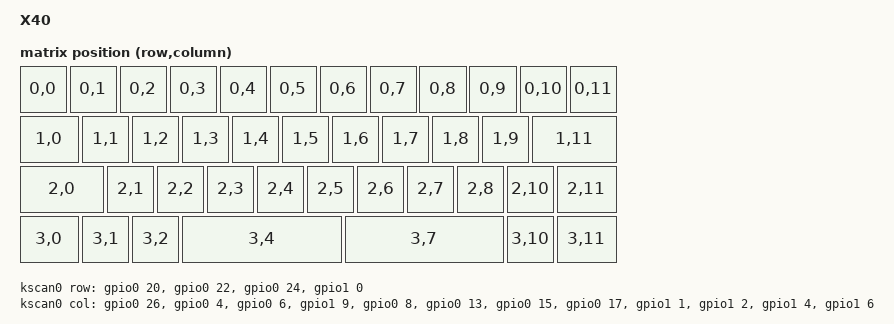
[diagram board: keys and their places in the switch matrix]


/dts-v1/;
#include <nordic/nrf52840_qiaa.dtsi>
#include <nordic/nrf52840_uf2_boot_mode.dtsi>

#include <dt-bindings/zmk/matrix_transform.h>

#include <physical_layouts.dtsi>
/ {
    model = "X40";
    compatible = "X,40";

    chosen {
        zephyr,code-partition = &code_partition;
        zephyr,sram = &sram0;
        zephyr,flash = &flash0;
        zmk,kscan = &kscan0;
        zmk,physical-layout = &physical_layout0;
        zmk,matrix-transform = &default_transform;
    };
    default_transform: keymap_transform {
        compatible = "zmk,matrix-transform";
        columns = <12>; 
        rows = <4>; 
        map = <
            RC(0,0) RC(0,1) RC(0,2) RC(0,3) RC(0,4) RC(0,5) RC(0,6) RC(0,7) RC(0,8) RC(0,9) RC(0,10) RC(0,11)
            RC(1,0) RC(1,1) RC(1,2) RC(1,3) RC(1,4) RC(1,5) RC(1,6) RC(1,7) RC(1,8) RC(1,9)          RC(1,11)
            RC(2,0) RC(2,1) RC(2,2) RC(2,3) RC(2,4) RC(2,5) RC(2,6) RC(2,7) RC(2,8)         RC(2,10) RC(2,11)
            RC(3,0) RC(3,1) RC(3,2)         RC(3,4)                 RC(3,7)                 RC(3,10) RC(3,11)
        >;
    };

    kscan0: kscan0 {
        compatible = "zmk,kscan-gpio-matrix";
        diode-direction = "col2row";
        wakeup-source;

        col-gpios
            = <&gpio0 26 (GPIO_ACTIVE_HIGH | GPIO_PULL_DOWN)> //1
            , <&gpio0 4 (GPIO_ACTIVE_HIGH | GPIO_PULL_DOWN)> //2
            , <&gpio0 6 (GPIO_ACTIVE_HIGH | GPIO_PULL_DOWN)> //3
            , <&gpio1 9 (GPIO_ACTIVE_HIGH | GPIO_PULL_DOWN)> //4
            , <&gpio0 8 (GPIO_ACTIVE_HIGH | GPIO_PULL_DOWN)> //5 
            , <&gpio0 13 (GPIO_ACTIVE_HIGH | GPIO_PULL_DOWN)> //6
            , <&gpio0 15 (GPIO_ACTIVE_HIGH | GPIO_PULL_DOWN)> //7 
            , <&gpio0 17 (GPIO_ACTIVE_HIGH | GPIO_PULL_DOWN)> //8
            , <&gpio1 1 (GPIO_ACTIVE_HIGH | GPIO_PULL_DOWN)> //9
            , <&gpio1 2 (GPIO_ACTIVE_HIGH | GPIO_PULL_DOWN)> //10
            , <&gpio1 4 (GPIO_ACTIVE_HIGH | GPIO_PULL_DOWN)> //11
            , <&gpio1 6 (GPIO_ACTIVE_HIGH | GPIO_PULL_DOWN)> //12
            ;

        row-gpios
            = <&gpio0 20 GPIO_ACTIVE_HIGH>
            , <&gpio0 22  GPIO_ACTIVE_HIGH>
            , <&gpio0 24 GPIO_ACTIVE_HIGH>
            , <&gpio1 0 GPIO_ACTIVE_HIGH>
            ;
    };
    physical_layout0: physical_layout_0 {
        compatible = "zmk,physical-layout";
        display-name = "default";

        kscan = <&kscan0>;
        transform = <&default_transform>;

        keys  //                     w   h    x    y     rot    rx    ry
            = <&key_physical_attrs 100 100    0    0       0     0     0>
            , <&key_physical_attrs 100 100  100    0       0     0     0>
            , <&key_physical_attrs 100 100  200    0       0     0     0>
            , <&key_physical_attrs 100 100  300    0       0     0     0>
            , <&key_physical_attrs 100 100  400    0       0     0     0>
            , <&key_physical_attrs 100 100  500    0       0     0     0>
            , <&key_physical_attrs 100 100  600    0       0     0     0>
            , <&key_physical_attrs 100 100  700    0       0     0     0>
            , <&key_physical_attrs 100 100  800    0       0     0     0>
            , <&key_physical_attrs 100 100  900    0       0     0     0>
            , <&key_physical_attrs 100 100 1000    0       0     0     0>
            , <&key_physical_attrs 100 100 1100    0       0     0     0>
            , <&key_physical_attrs 125 100    0  100       0     0     0>
            , <&key_physical_attrs 100 100  125  100       0     0     0>
            , <&key_physical_attrs 100 100  225  100       0     0     0>
            , <&key_physical_attrs 100 100  325  100       0     0     0>
            , <&key_physical_attrs 100 100  425  100       0     0     0>
            , <&key_physical_attrs 100 100  525  100       0     0     0>
            , <&key_physical_attrs 100 100  625  100       0     0     0>
            , <&key_physical_attrs 100 100  725  100       0     0     0>
            , <&key_physical_attrs 100 100  825  100       0     0     0>
            , <&key_physical_attrs 100 100  925  100       0     0     0>
            , <&key_physical_attrs 175 100 1025  100       0     0     0>
            , <&key_physical_attrs 175 100    0  200       0     0     0>
            , <&key_physical_attrs 100 100  175  200       0     0     0>
            , <&key_physical_attrs 100 100  275  200       0     0     0>
            , <&key_physical_attrs 100 100  375  200       0     0     0>
            , <&key_physical_attrs 100 100  475  200       0     0     0>
            , <&key_physical_attrs 100 100  575  200       0     0     0>
            , <&key_physical_attrs 100 100  675  200       0     0     0>
            , <&key_physical_attrs 100 100  775  200       0     0     0>
            , <&key_physical_attrs 100 100  875  200       0     0     0>
            , <&key_physical_attrs 100 100  975  200       0     0     0>
            , <&key_physical_attrs 125 100 1075  200       0     0     0>
            , <&key_physical_attrs 125 100    0  300       0     0     0>
            , <&key_physical_attrs 100 100  125  300       0     0     0>
            , <&key_physical_attrs 100 100  225  300       0     0     0>
            , <&key_physical_attrs 325 100  325  300       0     0     0>
            , <&key_physical_attrs 325 100  650  300       0     0     0>
            , <&key_physical_attrs 100 100  975  300       0     0     0>
            , <&key_physical_attrs 125 100 1075  300       0     0     0>
            ;
    };
    

};

&reg1 {
    regulator-initial-mode = <NRF5X_REG_MODE_DCDC>;
};



&gpiote {
    status = "okay";
};

&gpio0 {
    status = "okay";
};

&gpio1 {
    status = "okay";
};

zephyr_udc0: &usbd {
    status = "okay";
};

&flash0 {
    /*
     * For more information, see:
     * http://docs.zephyrproject.org/latest/devices/dts/flash_partitions.html
     */
    partitions {
        compatible = "fixed-partitions";
        #address-cells = <1>;
        #size-cells = <1>;

        sd_partition: partition@0 {
            reg = <0x00000000 0x00001000>;
        };

        code_partition: partition@1000 {
            reg = <0x00001000 0x000d3000>;
        };

        /*
         * The flash starting at 0x000d4000 and ending at
         * 0x000f3fff is reserved for use by the application.
         */

        /*
         * Storage partition will be used by FCB/LittleFS/NVS
         * if enabled.
         */
        storage_partition: partition@d4000 {
            reg = <0x000d4000 0x00020000>;
        };

        boot_partition: partition@f4000 {
            reg = <0x000f4000 0x0000c000>;
        };
    };
};

